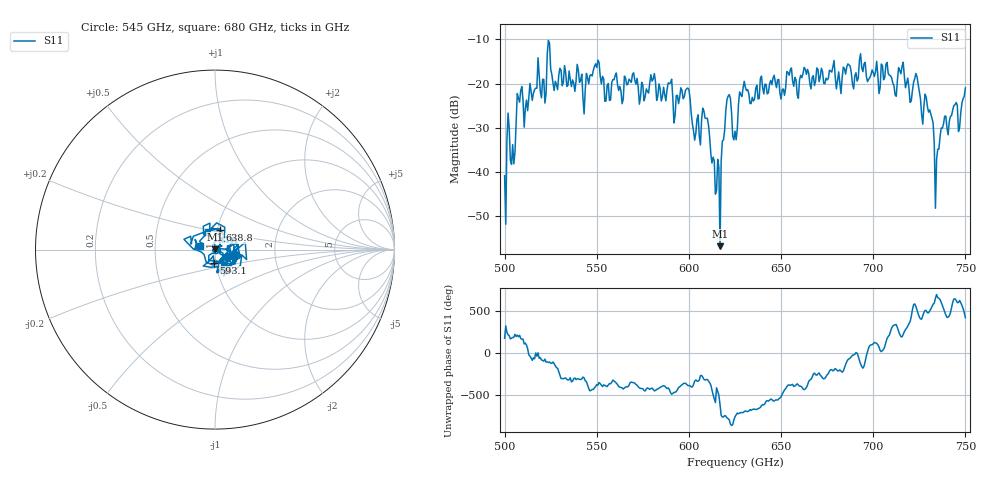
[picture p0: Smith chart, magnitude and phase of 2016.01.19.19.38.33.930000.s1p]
!Created with skrf (http://scikit-rf.org).
# GHz S RI R 50.0
!freq ReS11 ImS11
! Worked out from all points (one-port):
!   401 points, 500 GHz to 750 GHz, reference 50 ohm
!   lowest |S11| = -56.8 dB at 616.9 GHz (marker M1), VSWR 1.00, Z = 49.9 + j0.135 ohm
!   |S11| at or under -10 dB: start of sweep to end of sweep
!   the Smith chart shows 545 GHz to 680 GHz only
!   S11 on the Smith chart (normalised r, x): 545 GHz: 1.25, -0.08; 593.1 GHz: 0.98, -0.14; 638.8 GHz: 1.03, +0.23; 680 GHz: 0.84, +0.03
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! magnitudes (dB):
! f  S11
! 500 GHz  -40.8
! 502.5 GHz  -30.2
! 504.4 GHz  -33.8
! 508.1 GHz  -24.2
! 521.2 GHz  -19.0
! 524.4 GHz  -10.9
! 527.5 GHz  -19.5
! 531.2 GHz  -20.5
! 545 GHz  -18.7
! 562.5 GHz  -20.6
! 580.6 GHz  -19.0
! 593.1 GHz  -22.7
! 593.8 GHz  -22.7
! 608.8 GHz  -27.8
! 615.6 GHz  -37.1
! 616.9 GHz  -56.8
! 621.2 GHz  -22.9
! 625 GHz  -30.8
! 628.8 GHz  -22.9
! 638.8 GHz  -18.9
! 656.2 GHz  -19.4
! 680 GHz  -21.2
! 687.5 GHz  -16.0
! 718.8 GHz  -18.8
! 729.4 GHz  -25.1
! 734.4 GHz  -37.2
! 738.1 GHz  -29.1
! 750 GHz  -21.0
